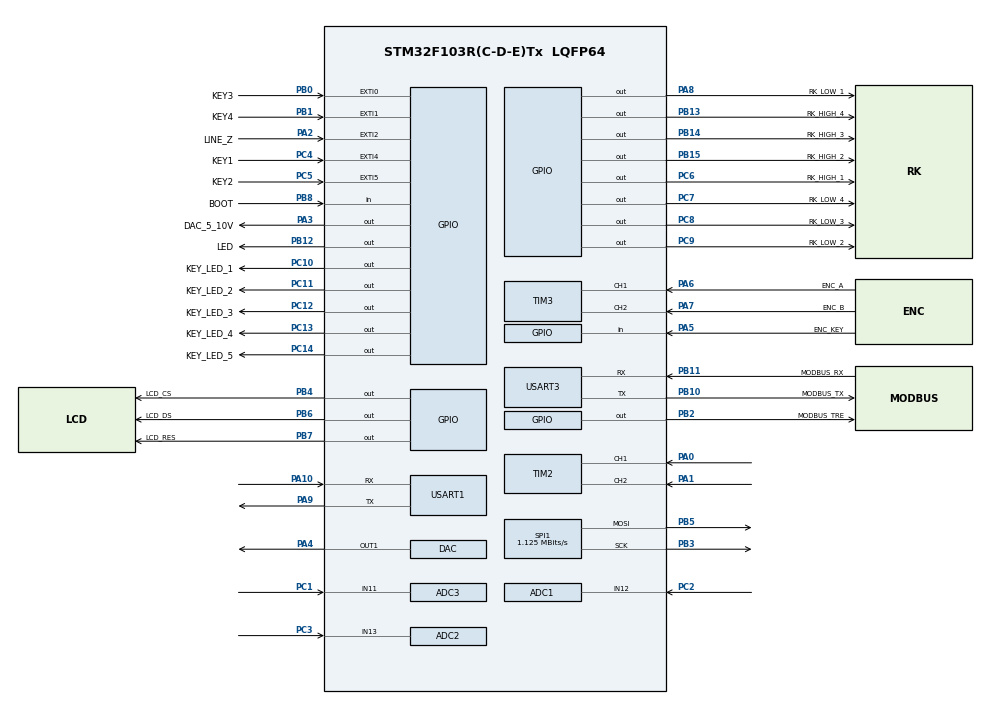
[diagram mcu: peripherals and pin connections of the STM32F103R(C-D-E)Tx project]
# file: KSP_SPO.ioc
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ADC1.Channel-2\#ChannelRegularConversion=ADC_CHANNEL_12
ADC1.NbrOfConversionFlag=1
ADC1.Rank-2\#ChannelRegularConversion=1
ADC1.SamplingTime-2\#ChannelRegularConversion=ADC_SAMPLETIME_1CYCLE_5
ADC1.master=1
ADC2.Channel-1\#ChannelRegularConversion=ADC_CHANNEL_13
ADC2.NbrOfConversionFlag=1
ADC2.Rank-1\#ChannelRegularConversion=1
ADC2.SamplingTime-1\#ChannelRegularConversion=ADC_SAMPLETIME_1CYCLE_5
ADC3.Channel-0\#ChannelRegularConversion=ADC_CHANNEL_11
ADC3.NbrOfConversionFlag=1
ADC3.Rank-0\#ChannelRegularConversion=1
ADC3.SamplingTime-0\#ChannelRegularConversion=ADC_SAMPLETIME_1CYCLE_5
Dma.Request0=SPI1_TX
Dma.SPI1_TX.0.Direction=DMA_MEMORY_TO_PERIPH
Dma.SPI1_TX.0.Instance=DMA1_Channel3
Dma.SPI1_TX.0.MemDataAlignment=DMA_MDATAALIGN_BYTE
Dma.SPI1_TX.0.MemInc=DMA_MINC_ENABLE
Dma.SPI1_TX.0.Mode=DMA_NORMAL
Dma.SPI1_TX.0.PeriphDataAlignment=DMA_PDATAALIGN_BYTE
Dma.SPI1_TX.0.PeriphInc=DMA_PINC_DISABLE
Dma.SPI1_TX.0.Priority=DMA_PRIORITY_LOW
Mcu.Family=STM32F1
Mcu.Name=STM32F103R(C-D-E)Tx
Mcu.Package=LQFP64
Mcu.UserConstants=LCD_TIM,TIM8;MOT_TIM,TIM7;KEY_TIM,TIM6
NVIC.ADC1_2_IRQn=true\:0\:0\:false\:false\:true\:true\:true\:true
NVIC.ADC3_IRQn=true\:0\:0\:false\:false\:true\:true\:true\:true
NVIC.DMA1_Channel3_IRQn=true\:0\:0\:false\:false\:true\:false\:true\:true
NVIC.EXTI0_IRQn=true\:0\:0\:false\:false\:true\:true\:true\:true
NVIC.EXTI1_IRQn=true\:0\:0\:false\:false\:true\:true\:true\:true
NVIC.EXTI2_IRQn=true\:0\:0\:false\:false\:true\:true\:true\:true
NVIC.EXTI4_IRQn=true\:0\:0\:false\:false\:true\:true\:true\:true
NVIC.EXTI9_5_IRQn=true\:0\:0\:false\:false\:true\:true\:true\:true
NVIC.PriorityGroup=NVIC_PRIORITYGROUP_4
NVIC.SPI1_IRQn=true\:0\:0\:false\:false\:true\:true\:true\:true
NVIC.TIM2_IRQn=true\:0\:0\:false\:false\:true\:true\:true\:true
NVIC.TIM3_IRQn=true\:0\:0\:false\:false\:true\:true\:true\:true
NVIC.TIM6_IRQn=true\:0\:0\:false\:false\:true\:true\:true\:true
NVIC.TIM7_IRQn=true\:0\:0\:false\:false\:true\:true\:true\:true
NVIC.TIM8_UP_IRQn=true\:0\:0\:false\:false\:true\:true\:true\:true
NVIC.USART1_IRQn=true\:0\:0\:false\:false\:true\:true\:true\:true
NVIC.USART3_IRQn=true\:0\:0\:false\:false\:true\:true\:true\:true
PA0-WKUP.Signal=S_TIM2_CH1_ETR
PA1.Signal=S_TIM2_CH2
PA10.Mode=Asynchronous
PA10.Signal=USART1_RX
PA13.Mode=Serial_Wire
PA13.Signal=SYS_JTMS-SWDIO
PA14.Mode=Serial_Wire
PA14.Signal=SYS_JTCK-SWCLK
PA2.GPIO_Label=LINE_Z
PA2.Signal=GPXTI2
PA3.GPIO_Label=DAC_5_10V
PA3.Signal=GPIO_Output
PA4.Signal=COMP_DAC1_group
PA5.GPIO_Label=ENC_KEY
PA5.Signal=GPIO_Input
PA6.GPIO_Label=ENC_A
PA6.Signal=S_TIM3_CH1
PA7.GPIO_Label=ENC_B
PA7.Signal=S_TIM3_CH2
PA8.GPIO_Label=RK_LOW_1
PA8.Signal=GPIO_Output
PA9.Mode=Asynchronous
PA9.Signal=USART1_TX
PB0.GPIO_Label=KEY3
PB0.GPIO_PuPd=GPIO_PULLUP
PB0.Signal=GPXTI0
PB1.GPIO_Label=KEY4
PB1.GPIO_PuPd=GPIO_PULLUP
PB1.Signal=GPXTI1
PB10.GPIO_Label=MODBUS_TX
PB10.Mode=Asynchronous
PB10.Signal=USART3_TX
PB11.GPIO_Label=MODBUS_RX
PB11.Mode=Asynchronous
PB11.Signal=USART3_RX
PB12.GPIO_Label=LED
PB12.Signal=GPIO_Output
PB13.GPIO_Label=RK_HIGH_4
PB13.Signal=GPIO_Output
PB14.GPIO_Label=RK_HIGH_3
PB14.Signal=GPIO_Output
PB15.GPIO_Label=RK_HIGH_2
PB15.Signal=GPIO_Output
PB2.GPIO_Label=MODBUS_TRE
PB2.Signal=GPIO_Output
PB3.Mode=TX_Only_Simplex_Unidirect_Master
PB3.Signal=SPI1_SCK
PB4.GPIO_Label=LCD_CS
PB4.Signal=GPIO_Output
PB5.Mode=TX_Only_Simplex_Unidirect_Master
PB5.Signal=SPI1_MOSI
PB6.GPIO_Label=LCD_DS
PB6.Signal=GPIO_Output
PB7.GPIO_Label=LCD_RES
PB7.Signal=GPIO_Output
PB8.GPIO_Label=BOOT
PB8.Signal=GPIO_Input
PC1.Signal=ADCx_IN11
PC10.GPIO_Label=KEY_LED_1
PC10.Signal=GPIO_Output
PC11.GPIO_Label=KEY_LED_2
PC11.Signal=GPIO_Output
PC12.GPIO_Label=KEY_LED_3
PC12.Signal=GPIO_Output
PC13-TAMPER-RTC.GPIO_Label=KEY_LED_4
PC13-TAMPER-RTC.Signal=GPIO_Output
PC14-OSC32_IN.GPIO_Label=KEY_LED_5
PC14-OSC32_IN.Signal=GPIO_Output
PC2.Signal=ADCx_IN12
PC3.Signal=ADCx_IN13
PC4.GPIO_Label=KEY1
PC4.GPIO_PuPd=GPIO_PULLUP
PC4.Signal=GPXTI4
PC5.GPIO_Label=KEY2
PC5.GPIO_PuPd=GPIO_PULLUP
PC5.Signal=GPXTI5
PC6.GPIO_Label=RK_HIGH_1
PC6.Signal=GPIO_Output
PC7.GPIO_Label=RK_LOW_4
PC7.Signal=GPIO_Output
PC8.GPIO_Label=RK_LOW_3
PC8.Signal=GPIO_Output
PC9.GPIO_Label=RK_LOW_2
PC9.Signal=GPIO_Output
PD0-OSC_IN.Mode=HSE-External-Oscillator
PD0-OSC_IN.Signal=RCC_OSC_IN
PD1-OSC_OUT.Mode=HSE-External-Oscillator
PD1-OSC_OUT.Signal=RCC_OSC_OUT
ProjectManager.HeapSize=0x200
ProjectManager.StackSize=0x400
ProjectManager.TargetToolchain=MDK-ARM V5.32
RCC.ADCPresc=RCC_ADCPCLK2_DIV6
RCC.AHBFreq_Value=72000000
RCC.APB1CLKDivider=RCC_HCLK_DIV2
RCC.APB1Freq_Value=36000000
RCC.APB1TimFreq_Value=72000000
RCC.APB2Freq_Value=72000000
RCC.APB2TimFreq_Value=72000000
RCC.HCLKFreq_Value=72000000
RCC.PLLMUL=RCC_PLL_MUL9
RCC.PLLSourceVirtual=RCC_PLLSOURCE_HSE
RCC.SYSCLKFreq_VALUE=72000000
RCC.SYSCLKSource=RCC_SYSCLKSOURCE_PLLCLK
RCC.USBFreq_Value=72000000
SH.ADCx_IN11.0=ADC3_IN11,IN11
SH.ADCx_IN12.0=ADC1_IN12,IN12
SH.ADCx_IN13.0=ADC2_IN13,IN13
SH.COMP_DAC1_group.0=DAC_OUT1,DAC_OUT1
SH.S_TIM2_CH1_ETR.0=TIM2_CH1,Encoder_Interface
SH.S_TIM2_CH2.0=TIM2_CH2,Encoder_Interface
SH.S_TIM3_CH1.0=TIM3_CH1,Encoder_Interface
SH.S_TIM3_CH2.0=TIM3_CH2,Encoder_Interface
SPI1.BaudRatePrescaler=SPI_BAUDRATEPRESCALER_64
SPI1.CLKPhase=SPI_PHASE_2EDGE
SPI1.CLKPolarity=SPI_POLARITY_HIGH
SPI1.CalculateBaudRate=1.125 MBits/s
SPI1.Direction=SPI_DIRECTION_2LINES
SPI1.Mode=SPI_MODE_MASTER
SPI1.VirtualType=VM_MASTER
TIM6.Period=1000
TIM6.Prescaler=72
TIM7.Period=1000
TIM7.Prescaler=72
TIM8.Period=1000
TIM8.Prescaler=7200
USART1.VirtualMode=VM_ASYNC
USART3.VirtualMode=VM_ASYNC
VP_TIM6_VS_ClockSourceINT.Mode=Enable_Timer
VP_TIM7_VS_ClockSourceINT.Mode=Enable_Timer
VP_TIM8_VS_ClockSourceINT.Mode=Internal
board=custom

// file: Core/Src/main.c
/* USER CODE BEGIN Header */
/**
  ******************************************************************************
  * @file           : main.c
  * @brief          : Main program body
  ******************************************************************************
  * @attention
  *
  * Copyright (c) 2023 STMicroelectronics.
  * All rights reserved.
  *
  * This software is licensed under terms that can be found in the LICENSE file
  * in the root directory of this software component.
  * If no LICENSE file comes with this software, it is provided AS-IS.
  *
  ******************************************************************************
  */
/* USER CODE END Header */
#include "main.h"
#include "adc.h"
#include "dac.h"
#include "dma.h"
#include "spi.h"
#include "tim.h"
#include "usart.h"
#include "gpio.h"

/* USER CODE BEGIN PV */
bool motorSpin = false;
//bool openDoor = false;
//uint16_t _timer = 300;
//int dx = 1;
//uint8_t _cnt = 0;
//uint8_t mode = 1;
uint8_t tx_buf[256*64/2];
//uint32_t ris = 0;
//uint32_t fal = 0;
bool drill = true;
//uint16_t dacVal;
uint8_t motMode;
uint16_t cntPrevious = 0;
int16_t cntSecond = 0;
int32_t cntDelta = 0;
int32_t drillSpeed = 0;
int32_t tapSpeed = 0;
float drillInc = 0;
float tapInc = 0;

float linePrevious = 0;
float lineSecond = 0;
uint32_t cntLine = 0;
float lineDelta = 0;
float Line = 0;
int32_t realPoz;
float buf;

uint8_t modeCnt = 1;

bool isOrigin = false;
bool isMotorStart = false;
uint8_t tickCnt = 0;

bool rpmChange = true;
bool absChange = false;
bool incChange = false;

bool rpmEdit = false;
bool absEdit = false;
bool incEdit = false;
/* USER CODE END PV */

void SystemClock_Config(void);

int main(void)
{
  /* USER CODE BEGIN 1 */
	motMode = 1;
  /* USER CODE END 1 */

  /* MCU Configuration--------------------------------------------------------*/

  /* Reset of all peripherals, Initializes the Flash interface and the Systick. */
  LL_APB2_GRP1_EnableClock(LL_APB2_GRP1_PERIPH_AFIO);
  LL_APB1_GRP1_EnableClock(LL_APB1_GRP1_PERIPH_PWR);

  /* System interrupt init*/
  NVIC_SetPriorityGrouping(NVIC_PRIORITYGROUP_4);

  /* SysTick_IRQn interrupt configuration */
  NVIC_SetPriority(SysTick_IRQn, NVIC_EncodePriority(NVIC_GetPriorityGrouping(),15, 0));

  /** NOJTAG: JTAG-DP Disabled and SW-DP Enabled
  */
  LL_GPIO_AF_Remap_SWJ_NOJTAG();

  /* Configure the system clock */
  SystemClock_Config();

  /* Initialize all configured peripherals */
  MX_GPIO_Init();
  MX_DMA_Init();
  MX_ADC1_Init();
  MX_ADC2_Init();
  MX_ADC3_Init();
  MX_DAC_Init();
  MX_SPI1_Init();
  MX_TIM2_Init();
  MX_TIM3_Init();
  MX_USART1_UART_Init();
  MX_USART3_UART_Init();
  MX_TIM6_Init();
  MX_TIM7_Init();
  MX_TIM8_Init();
  /* USER CODE BEGIN 2 */
	//LL_GPIO_TogglePin(SW2_GPIO_Port,SW2_Pin);
    LL_GPIO_SetOutputPin(DAC_5_10V_GPIO_Port, DAC_5_10V_Pin);
    EC_Init();
    MOT_Init();
    SSD1322_API_init();
    LL_TIM_EnableIT_UPDATE(LCD_TIM);
    LL_TIM_EnableCounter(LCD_TIM);
    LL_TIM_EnableIT_UPDATE(KEY_TIM);
    LL_TIM_EnableCounter(KEY_TIM);
    LL_TIM_EnableIT_UPDATE(MOT_TIM);
    LL_TIM_EnableCounter(MOT_TIM);
    LL_TIM_EnableCounter(TIM2);
    LL_TIM_EnableCounter(TIM3);

    //InitGui();
  /* USER CODE END 2 */

  /* Infinite loop */
  /* USER CODE BEGIN WHILE */

	LL_SYSTICK_EnableIT();
	uint8_t br = 0;

  while (1)
  {
//    if(){
//        select_font(&FreeMonoBold9pt7b);
//        draw_text(tx_buf, (uint8_t*)"ORIGIN", 35, 30, 15);
//        send_buffer_to_OLED(tx_buf, 0, 0);
//    }

    if(drill) {
        LL_GPIO_SetOutputPin(key2Led1.port, key2Led1.pin);
        LL_GPIO_ResetOutputPin(key2Led2.port, key2Led2.pin);
    }
    else {
        LL_GPIO_SetOutputPin(key2Led2.port, key2Led2.pin);
        LL_GPIO_ResetOutputPin(key2Led1.port, key2Led1.pin);
    }

    if(isMotorStart) {
        LL_GPIO_SetOutputPin(key1Led.port, key1Led.pin);
    }
    else {
        LL_GPIO_SetOutputPin(key3Led.port, key3Led.pin);
    }

    if(isOrigin){
        LL_GPIO_SetOutputPin(key4Led.port, key4Led.pin);
    }

    cntSecond = LL_TIM_GetCounter(TIM3)/2;
    cntDelta = cntSecond - cntPrevious;
    cntPrevious = cntSecond;

    if(key2.backPulse)
    {
        if(!isMotorStart) {
            drill = !drill;
            modeCnt = 1;
            rpmChange = true;
            absChange = false;
            incChange = false;
            rpmEdit = false;
            absEdit = false;
            incEdit = false;
        }

        key2.backPulse = false;
    }
    if(encKey.backPulse)
    {
        if(modeCnt != 2){
            if(modeCnt == 1){
                rpmChange = false;
                rpmEdit = false;
                absChange = true;
            }
            if(modeCnt == 3){
                rpmChange = false;
                absChange = false;
                incChange = false;
                rpmEdit = false;
                absEdit = false;
                incEdit = false;
            }

            modeCnt++;
            if(modeCnt > 3) modeCnt = 1;
        }
        encKey.backPulse = false;
    }
    if(key4.backPulse)
    {
        if(modeCnt == 2){
            incChange = true;
            absChange = false;
            modeCnt = 3;
            isOrigin = !isOrigin;
            LL_TIM_SetCounter(TIM2, 0);
        }
        key4.backPulse = false;
    }
    if(cntDelta < 0 )
    {
        if(modeCnt == 1){
            if(drill){
                rpmEdit = true;
                if(drillSpeed < 2000)
                    drillSpeed += 100;
                if(drillSpeed > 2000)
                    drillSpeed = 2000;
            }
            else {
                rpmEdit = true;
                if(tapSpeed < 200)
                    tapSpeed += 10;
                if(tapSpeed > 200)
                    tapSpeed = 200;
            }
            cntDelta = 0;
            rpmEdit = false;
        }
        if(modeCnt == 3){
            if(drill) {
                incEdit = true;
                if(drillInc < 100)
                    drillInc += 0.1;
                if(drillInc > 100)
                    drillInc = 100;
            }
            else {
                incEdit = true;
                if(tapInc < 100)
                    tapInc += 0.1;
                if(tapInc > 100)
                    tapInc = 100;
            }
            cntDelta = 0;
            incEdit = false;
        }
    }
    if(cntDelta > 0 )
    {
        if(modeCnt == 1){
            if(drill) {
                rpmEdit = true;
                if(drillSpeed > 0)
                    drillSpeed -= 100;
                if(drillSpeed < 0)
                    drillSpeed = 0;
            }
            else {
                rpmEdit = true;
                if(tapSpeed > 0)
                    tapSpeed -= 10;
                if(tapSpeed < 0)
                    tapSpeed = 0;
            }
            cntDelta = 0;
            rpmEdit = false;
        }
        if(modeCnt == 3){
            if(drill) {
                incEdit = true;
                if(drillInc > 0)
                    drillInc -= 0.1;
                if(drillInc < 0)
                    drillInc = 0;
            }
            else {
                incEdit = true;
                if(tapInc > 0)
                    tapInc -= 0.1;
                if(tapInc < 0)
                    tapInc = 0;
            }
            cntDelta = 0;
            incEdit = false;
        }
    }
    MOT_SetSpeed(drillSpeed);

    int speed = drill? drillSpeed : tapSpeed;

    DrawDrillWidget(drill, tx_buf, 2000, speed, rpmEdit);

    cntLine = LL_TIM_GetCounter(TIM2);

    if(cntLine > UINT16_MAX/2)
        realPoz = (UINT16_MAX - cntLine)*(-1);
    else
        realPoz = cntLine;

    buf = (float)realPoz;

    float inc = drill? drillInc : tapInc;

    DrawAbsIncWidget(tx_buf, buf, inc, absEdit, incEdit, modeCnt);

    DrawCntWidget(tx_buf, 0);

    send_buffer_to_OLED(tx_buf, 0, 0);
	//br = ~br;
		//MOT_ChangeDir(1);
	//LL_mDelay(1000);
    /* USER CODE END WHILE */

  }
}

void SystemClock_Config(void)
{
  LL_FLASH_SetLatency(LL_FLASH_LATENCY_2);
  while(LL_FLASH_GetLatency()!= LL_FLASH_LATENCY_2)
  {
  }
  LL_RCC_HSE_Enable();

   /* Wait till HSE is ready */
  while(LL_RCC_HSE_IsReady() != 1)
  {

  }
  LL_RCC_PLL_ConfigDomain_SYS(LL_RCC_PLLSOURCE_HSE_DIV_1, LL_RCC_PLL_MUL_9);
  LL_RCC_PLL_Enable();

   /* Wait till PLL is ready */
  while(LL_RCC_PLL_IsReady() != 1)
  {

  }
  LL_RCC_SetAHBPrescaler(LL_RCC_SYSCLK_DIV_1);
  LL_RCC_SetAPB1Prescaler(LL_RCC_APB1_DIV_2);
  LL_RCC_SetAPB2Prescaler(LL_RCC_APB2_DIV_1);
  LL_RCC_SetSysClkSource(LL_RCC_SYS_CLKSOURCE_PLL);

   /* Wait till System clock is ready */
  while(LL_RCC_GetSysClkSource() != LL_RCC_SYS_CLKSOURCE_STATUS_PLL)
  {

  }
  LL_Init1msTick(72000000);
  LL_SetSystemCoreClock(72000000);
  LL_RCC_SetADCClockSource(LL_RCC_ADC_CLKSRC_PCLK2_DIV_6);
}

/* USER CODE BEGIN 4 */
void InitGui(){
    draw_bitmap_8bpp(tx_buf, &KSP_LOGO, 64, 6, 128, 49);
    send_buffer_to_OLED(tx_buf, 0, 0);
    draw_rect_filled(tx_buf, 0, 0, 256, 64, 0);
    for(int i = 0; i < 2; ++i) {
        LL_GPIO_SetOutputPin(key1Led.port, key1Led.pin);
        LL_GPIO_SetOutputPin(key2Led1.port, key2Led1.pin);
        LL_GPIO_SetOutputPin(key2Led1.port, key2Led2.pin);
        LL_GPIO_SetOutputPin(key3Led.port, key3Led.pin);
        LL_GPIO_SetOutputPin(key4Led.port, key4Led.pin);
        LL_mDelay(1000);
        LL_GPIO_ResetOutputPin(key1Led.port, key1Led.pin);
        LL_GPIO_ResetOutputPin(key2Led1.port, key2Led1.pin);
        LL_GPIO_ResetOutputPin(key2Led1.port, key2Led2.pin);
        LL_GPIO_ResetOutputPin(key3Led.port, key3Led.pin);
        LL_GPIO_ResetOutputPin(key4Led.port, key4Led.pin);
        LL_mDelay(1000);
    }
}
/* USER CODE END 4 */

void Error_Handler(void)
{
  __disable_irq();
  while (1)
  {
  }
}
